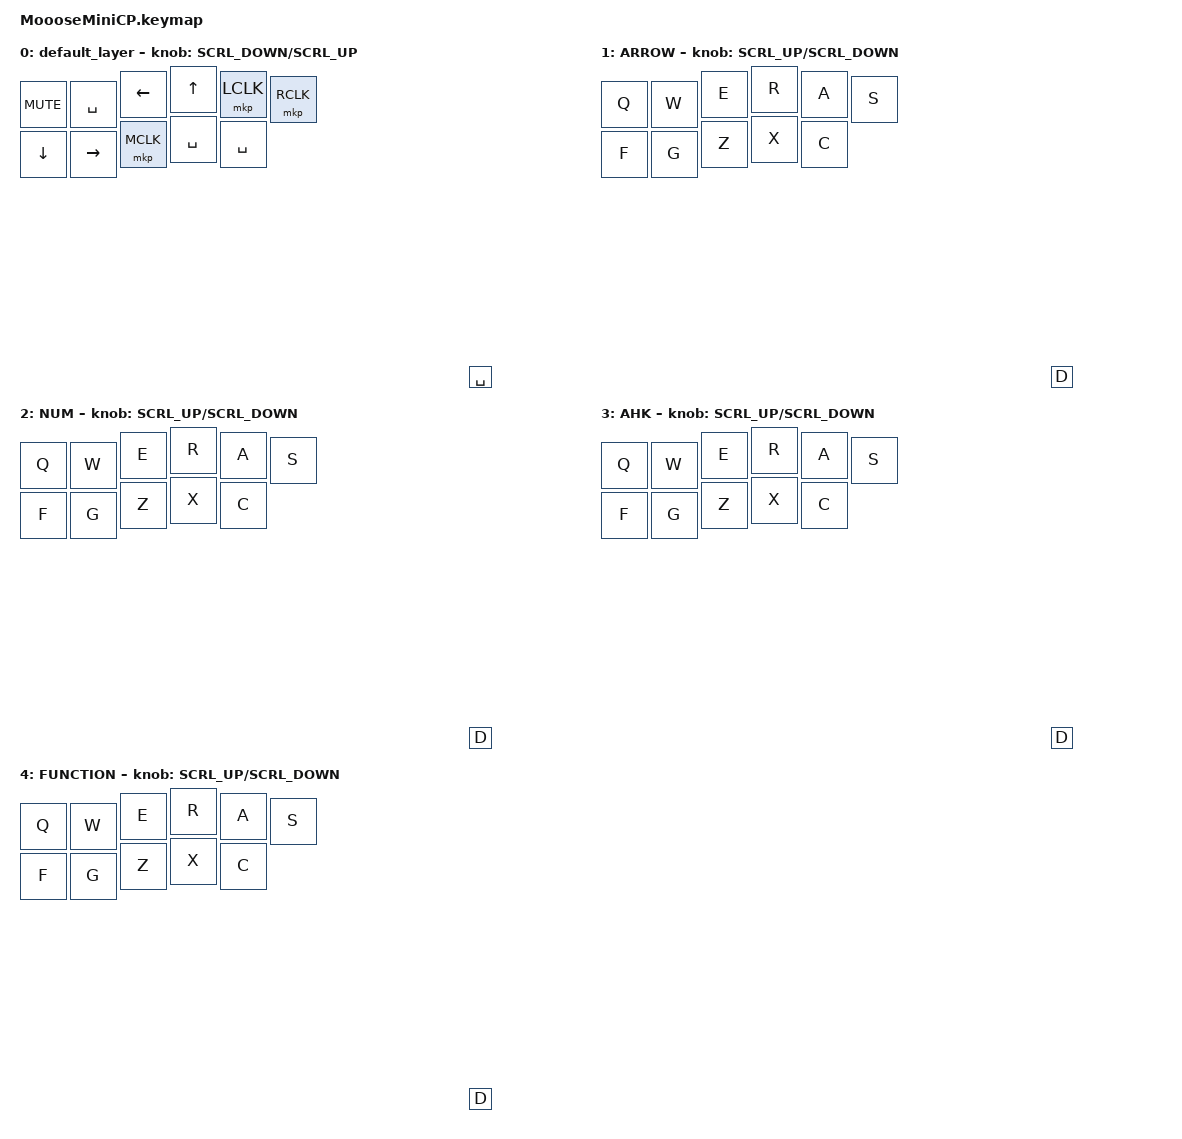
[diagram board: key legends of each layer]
#include <behaviors.dtsi>
#include <dt-bindings/zmk/bt.h>
#include <dt-bindings/zmk/keys.h>
#include <dt-bindings/zmk/mouse.h>
#include <dt-bindings/zmk/pointing.h>
#include <behaviors/rgbled_widget.dtsi>

#define ZMK_POINTING_DEFAULT_SCRL_VAL 100   //スクロール量

// Leyer
#define ARROW 1
#define NUM 2
#define AHK 3
#define FUNCTION 4
// #define SCROLL 5
// #define layer_6 6

// Japanese
#define JP_MINUS MINUS        // -
#define JP_CARET EQUAL        // ^
#define JP_YEN   INT3         // ¥
#define JP_AT    LBKT         // @
#define JP_LBKT  RBKT         // [
#define JP_EISU  CAPS         // Eisu (英数)
#define JP_SEMI  SEMI         // ;
#define JP_COLON SQT          // :
#define JP_RBKT  NUHS         // ]
#define JP_COMMA COMMA        // ,
#define JP_DOT   DOT          // .
#define JP_SLASH SLASH        // /
#define JP_BSLH  INT1         // (backslash)
#define JP_MHEN  INT5         // Muhenkan (無変換)
#define JP_HENK  INT4         // Henkan (変換)
#define JP_EXCL  LS(N1)       // !
#define JP_DQT   LS(N2)       // "
#define JP_HASH  LS(N3)       // #
#define JP_DLLR  LS(N4)       // $
#define JP_PRCNT LS(N5)       // %
#define JP_AMPS  LS(N6)       // &
#define JP_SQT   LS(N7)       // '
#define JP_LPAR  LS(N8)       // (
#define JP_RPAR  LS(N9)       // )
#define JP_EQUAL LS(JP_MINUS) // =
#define JP_TILDE LS(JP_CARET) // ~
#define JP_PIPE  LS(JP_YEN)   // |
#define JP_GRAVE LS(JP_AT)    // `
#define JP_LBRC  LS(JP_LBKT)  // {
#define JP_CAPS  LS(JP_EISU)  // Caps Lock
#define JP_PLUS  LS(JP_SEMI)  // +
#define JP_ASTRK LS(JP_COLON) // *
#define JP_RBRC  LS(JP_RBKT)  // }
#define JP_LT    LS(JP_COMMA) // <
#define JP_RT    LS(JP_DOT)   // >
#define JP_QMARK LS(JP_SLASH) // ?
#define JP_UNDER LS(JP_BSLH)  // _

/ {
    macros {
        to_layer_0: to_layer_0 {
            compatible = "zmk,behavior-macro-one-param";
            #binding-cells = <1>;
            bindings = <&to 0 &macro_param_1to1 &kp MACRO_PLACEHOLDER>;
            label = "TO_LAYER_0";
        };
        my_sp: my_sp {
            compatible = "zmk,behavior-macro";
            #binding-cells = <0>;
            bindings = <&macro_tap &kp JP_MHEN>
                , <&macro_tap &kp LS(N3)>
                ;
        };
        my_dq: my_dq {
            #binding-cells = <0>;
            compatible = "zmk,behavior-macro";
            bindings = <&macro_tap &kp JP_MHEN>
                , <&macro_tap &kp LS(N2)>
                , <&macro_tap &kp LS(N2)>
                ;
        };
        my_sq: my_sq {
            #binding-cells = <0>;
            compatible = "zmk,behavior-macro";
            bindings = <&macro_tap &kp JP_MHEN>
                , <&macro_tap &kp LS(N7)>
                , <&macro_tap &kp LS(N7)>
                ;
        };

        my_kakko: my_kakko {
            compatible = "zmk,behavior-macro";
            #binding-cells = <0>;
            bindings = <&macro_tap &kp JP_MHEN>
                , <&macro_tap &kp LS(N8)>
                , <&macro_tap &kp LS(N9)>
                ;
        };
        my_br: my_br {
            compatible = "zmk,behavior-macro";
            #binding-cells = <0>;
            bindings = <&macro_tap &kp JP_MHEN>
                , <&macro_tap &kp JP_LT>
                , <&macro_tap &kp B>
                , <&macro_tap &kp R>
                , <&macro_tap &kp JP_RT>
                ;
        };
    };

    behaviors {
        lt_to_layer_0: lt_to_layer_0 {
            compatible = "zmk,behavior-hold-tap";
            label = "LAYER_TAP_TO_0";
            bindings = <&mo>, <&to_layer_0>;
            #binding-cells = <2>;
            tapping-term-ms = <200>;
        };
        rot_kp: sensor_rotate_kp {
            compatible = "zmk,behavior-sensor-rotate-var";
            #sensor-binding-cells = <2>;
            bindings = <&kp>, <&kp>;
        };
        rot_mkp: sensor_rotate_mkp {
            compatible = "zmk,behavior-sensor-rotate-var";
            #sensor-binding-cells = <2>;
            bindings = <&mkp>, <&mkp>;
        };
        mouse_scroll: mouse_wheel_scrl{
            compatible = "zmk,behavior-sensor-rotate-var";
            #sensor-binding-cells = <2>;
            bindings = <&msc>, <&msc>;
            tap-ms = <20>;
        };
    };

    keymap {
        compatible = "zmk,keymap";
        default_layer {
            bindings = <
                &kp C_MUTE               &kp SPACE   &kp LEFT   &kp UP
                &mkp LCLK   &mkp RCLK    &kp SPACE   &kp DOWN   &kp RIGHT
                &mkp MCLK   &kp SPACE    &kp SPACE
            >;
            sensor-bindings =
                <&mouse_scroll SCRL_DOWN SCRL_UP>;
        };
        ARROW {
            bindings = <
                &kp Q             &kp W   &kp E   &kp R
                &kp A    &kp S    &kp D   &kp F   &kp G
                &kp Z    &kp X    &kp C
            >;
            sensor-bindings = <&mouse_scroll SCRL_UP SCRL_DOWN>;
        };
        NUM {
            bindings = <
                &kp Q             &kp W   &kp E   &kp R
                &kp A    &kp S    &kp D   &kp F   &kp G
                &kp Z    &kp X    &kp C
            >;
            sensor-bindings = <&mouse_scroll SCRL_UP SCRL_DOWN>;
        };
        AHK {
            bindings = <
                &kp Q             &kp W   &kp E   &kp R
                &kp A    &kp S    &kp D   &kp F   &kp G
                &kp Z    &kp X    &kp C
            >;
            sensor-bindings = <&mouse_scroll SCRL_UP SCRL_DOWN>;
        };
        FUNCTION {
            bindings = <
                &kp Q             &kp W   &kp E   &kp R
                &kp A    &kp S    &kp D   &kp F   &kp G
                &kp Z    &kp X    &kp C
            >;
            sensor-bindings = <&mouse_scroll SCRL_UP SCRL_DOWN>;
        };
    };
};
